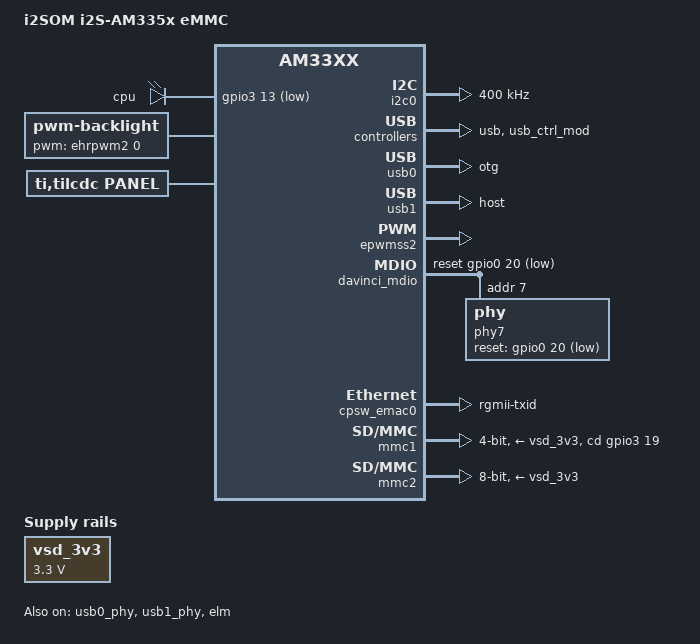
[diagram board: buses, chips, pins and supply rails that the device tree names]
/*
 * Copyright (C) 2012 Texas Instruments Incorporated - http://www.ti.com/
 *
 * This program is free software; you can redistribute it and/or modify
 * it under the terms of the GNU General Public License version 2 as
 * published by the Free Software Foundation.
 */
/ {
	model = "i2SOM i2S-AM335x eMMC";
	compatible = "ti,i2s_am335x", "ti,am33xx";

	vsd_3v3: fixedregulator@10{
		compatible = "regulator-fixed";
		regulator-name = "vsd_3v3";
		regulator-min-microvolt = <3300000>;
		regulator-max-microvolt = <3300000>;
		regulator-boot-on;
		regulator-always-on;
	};
	
	gpio-leds {
		compatible = "gpio-leds";
		pinctrl-names = "default";
		pinctrl-0 = <&leds_pins>;

		cpu {
			label = "cpu";
			gpios = <&gpio3 13 GPIO_ACTIVE_LOW>;
			linux,default-trigger = "heartbeat";
			default-state = "on";
		};
	};
	
	backlight {
		compatible = "pwm-backlight";
		pwms = <&ehrpwm2 0 2000 1>;
		brightness-levels = <10 120 140 160 180 200 220 255>;
		default-brightness-level = <7>;
	};

	panel {
		compatible = "ti,tilcdc,panel";
		status = "okay";
		panel-info {
			ac-bias           = <255>;
			ac-bias-intrpt    = <0>;
			dma-burst-sz      = <16>;
			bpp               = <16>;
			fdd               = <0x80>;
			sync-edge         = <0>;
			sync-ctrl         = <1>;
			raster-order      = <0>;
			fifo-th           = <0>;
		};

		display-timings {
			480x272 {
				clock-frequency = <9000000>;
				hactive = <480>;
				vactive = <272>;
				hfront-porch = <9>;
				hback-porch = <43>;
				hsync-len = <4>;
				vback-porch = <12>;
				vfront-porch = <4>;
				vsync-len = <10>;
				hsync-active = <0>;
				vsync-active = <0>;
			};
		};
	};
};

&am33xx_pinmux {
	pinctrl-names = "default";
	pinctrl-0 = <&leds_pins>;

	leds_pins: pinmux_leds_pins {
		pinctrl-single,pins = <
			0x234 (PIN_OUTPUT_PULLDOWN | MUX_MODE7)	/* usb1_drvvbus.gpio3_13 */
		>;
	};
	
	i2c0_pins: pinmux_i2c0_pins {
		pinctrl-single,pins = <
			0x188 (PIN_INPUT_PULLUP | MUX_MODE0)	/* i2c0_sda.i2c0_sda */
			0x18c (PIN_INPUT_PULLUP | MUX_MODE0)	/* i2c0_scl.i2c0_scl */
		>;
	};

	i2c1_pins_default: pinmux_i2c1_pins {
		pinctrl-single,pins = <
			0x158 (PIN_INPUT_PULLUP | MUX_MODE2)	/* spi0_d1.i2c1_sda */
			0x15c (PIN_INPUT_PULLUP | MUX_MODE2)	/* spi0_cs0.i2c1_scl */
		>;
	};

	i2c1_pins_sleep: i2c1_pins_sleep {
		pinctrl-single,pins = <
			0x158 (PIN_INPUT_PULLDOWN | MUX_MODE7)	/* spi0_d1.i2c1_sda */
			0x15c (PIN_INPUT_PULLDOWN | MUX_MODE7)	/* spi0_cs0.i2c1_scl */
		>;
	};

	uart0_pins: pinmux_uart0_pins {
		pinctrl-single,pins = <
			0x170 (PIN_INPUT_PULLUP | MUX_MODE0)	/* uart0_rxd.uart0_rxd */
			0x174 (PIN_OUTPUT_PULLDOWN | MUX_MODE0)	/* uart0_txd.uart0_txd */
		>;
	};

	uart1_pins_default: pinmux_uart1_pins_default {
        pinctrl-single,pins = <
			0x180 (PIN_INPUT_PULLUP | MUX_MODE0)    /* uart1_rxd.uart1_rxd */
			0x184 (PIN_OUTPUT_PULLDOWN | MUX_MODE0)         /* uart1_txd.uart1_txd */
                >;
        };

	uart1_pins_sleep: pinmux_uart1_pins_sleep {
		pinctrl-single,pins = <
			0x180 (PIN_INPUT_PULLDOWN | MUX_MODE7)
			0x184 (PIN_INPUT_PULLDOWN | MUX_MODE7)
                >;
        };

	uart2_pins_default: pinmux_uart2_pins_default {
		pinctrl-single,pins = <
			0x10c ( PIN_INPUT | MUX_MODE6 ) /* (H17) gmii1_crs.uart2_rxd */
			0x110 ( PIN_OUTPUT | MUX_MODE6 ) /* (J15) gmii1_rxer.uart2_txd */
		>;
	};

	uart2_pins_sleep: pinmux_uart2_pins_sleep {
		pinctrl-single,pins = <
			0x10C (PIN_INPUT_PULLDOWN | MUX_MODE7)
			0x110 (PIN_INPUT_PULLDOWN | MUX_MODE7)
		>;
	};

	nandflash_pins_default: nandflash_pins_default {
		pinctrl-single,pins = <
			0x0 (PIN_INPUT_PULLUP | MUX_MODE0)	/* gpmc_ad0.gpmc_ad0 */
			0x4 (PIN_INPUT_PULLUP | MUX_MODE0)	/* gpmc_ad1.gpmc_ad1 */
			0x8 (PIN_INPUT_PULLUP | MUX_MODE0)	/* gpmc_ad2.gpmc_ad2 */
			0xc (PIN_INPUT_PULLUP | MUX_MODE0)	/* gpmc_ad3.gpmc_ad3 */
			0x10 (PIN_INPUT_PULLUP | MUX_MODE0)	/* gpmc_ad4.gpmc_ad4 */
			0x14 (PIN_INPUT_PULLUP | MUX_MODE0)	/* gpmc_ad5.gpmc_ad5 */
			0x18 (PIN_INPUT_PULLUP | MUX_MODE0)	/* gpmc_ad6.gpmc_ad6 */
			0x1c (PIN_INPUT_PULLUP | MUX_MODE0)	/* gpmc_ad7.gpmc_ad7 */
			0x70 (PIN_INPUT_PULLUP | MUX_MODE0)	/* gpmc_wait0.gpmc_wait0 */
			0x74 (PIN_INPUT_PULLUP | MUX_MODE7)	/* gpmc_wpn.gpio0_30 */
			0x7c (PIN_OUTPUT | MUX_MODE0)		/* gpmc_csn0.gpmc_csn0  */
			0x90 (PIN_OUTPUT | MUX_MODE0)		/* gpmc_advn_ale.gpmc_advn_ale */
			0x94 (PIN_OUTPUT | MUX_MODE0)		/* gpmc_oen_ren.gpmc_oen_ren */
			0x98 (PIN_OUTPUT | MUX_MODE0)		/* gpmc_wen.gpmc_wen */
			0x9c (PIN_OUTPUT | MUX_MODE0)		/* gpmc_be0n_cle.gpmc_be0n_cle */
		>;
	};

	nandflash_pins_sleep: nandflash_pins_sleep {
		pinctrl-single,pins = <
			0x0 (PIN_INPUT_PULLDOWN | MUX_MODE7)
			0x4 (PIN_INPUT_PULLDOWN | MUX_MODE7)
			0x8 (PIN_INPUT_PULLDOWN | MUX_MODE7)
			0xc (PIN_INPUT_PULLDOWN | MUX_MODE7)
			0x10 (PIN_INPUT_PULLDOWN | MUX_MODE7)
			0x14 (PIN_INPUT_PULLDOWN | MUX_MODE7)
			0x18 (PIN_INPUT_PULLDOWN | MUX_MODE7)
			0x1c (PIN_INPUT_PULLDOWN | MUX_MODE7)
			0x70 (PIN_INPUT_PULLDOWN | MUX_MODE7)
			0x74 (PIN_INPUT_PULLDOWN | MUX_MODE7)
			0x7c (PIN_INPUT_PULLDOWN | MUX_MODE7)
			0x90 (PIN_INPUT_PULLDOWN | MUX_MODE7)
			0x94 (PIN_INPUT_PULLDOWN | MUX_MODE7)
			0x98 (PIN_INPUT_PULLDOWN | MUX_MODE7)
			0x9c (PIN_INPUT_PULLDOWN | MUX_MODE7)
		>;
	};

	ehrpwm2_pins_default: backlight_pins {
		pinctrl-single,pins = <
			0x20 (MUX_MODE4)	/* gpmc_ad8.ehrpwm2A */
		>;
	};

	ehrpwm2_pins_sleep: ehrpwm0_pins_sleep {
		pinctrl-single,pins = <
			0x20  (PIN_INPUT_PULLDOWN | MUX_MODE4)	/* gpmc_ad8.ehrpwm2A */
		>;
	};

	cpsw_default: cpsw_default {
		pinctrl-single,pins = <
			/* Slave 1 */
			0x114 (PIN_OUTPUT_PULLDOWN | MUX_MODE2)	/* mii1_txen.rgmii1_tctl */
			0x118 (PIN_INPUT_PULLDOWN | MUX_MODE2)	/* mii1_rxdv.rgmii1_rctl */
			0x11c (PIN_OUTPUT_PULLDOWN | MUX_MODE2)	/* mii1_txd3.rgmii1_td3 */
			0x120 (PIN_OUTPUT_PULLDOWN | MUX_MODE2)	/* mii1_txd2.rgmii1_td2 */
			0x124 (PIN_OUTPUT_PULLDOWN | MUX_MODE2)	/* mii1_txd1.rgmii1_td1 */
			0x128 (PIN_OUTPUT_PULLDOWN | MUX_MODE2)	/* mii1_txd0.rgmii1_td0 */
			0x12c (PIN_OUTPUT_PULLDOWN | MUX_MODE2)	/* mii1_txclk.rgmii1_tclk */
			0x130 (PIN_INPUT_PULLDOWN | MUX_MODE2)	/* mii1_rxclk.rgmii1_rclk */
			0x134 (PIN_INPUT_PULLDOWN | MUX_MODE2)	/* mii1_rxd3.rgmii1_rd3 */
			0x138 (PIN_INPUT_PULLDOWN | MUX_MODE2)	/* mii1_rxd2.rgmii1_rd2 */
			0x13c (PIN_INPUT_PULLDOWN | MUX_MODE2)	/* mii1_rxd1.rgmii1_rd1 */
			0x140 (PIN_INPUT_PULLDOWN | MUX_MODE2)	/* mii1_rxd0.rgmii1_rd0 */
			0x1b4 (PIN_OUTPUT_PULLUP | MUX_MODE7)	/* XDMA_EVENT_INTR1.gpio0_20 */

		>;
	};

	cpsw_sleep: cpsw_sleep {
		pinctrl-single,pins = <
			/* Slave 1 reset value */
			0x114 (PIN_INPUT_PULLDOWN | MUX_MODE7)
			0x118 (PIN_INPUT_PULLDOWN | MUX_MODE7)
			0x11c (PIN_INPUT_PULLDOWN | MUX_MODE7)
			0x120 (PIN_INPUT_PULLDOWN | MUX_MODE7)
			0x124 (PIN_INPUT_PULLDOWN | MUX_MODE7)
			0x128 (PIN_INPUT_PULLDOWN | MUX_MODE7)
			0x12c (PIN_INPUT_PULLDOWN | MUX_MODE7)
			0x130 (PIN_INPUT_PULLDOWN | MUX_MODE7)
			0x134 (PIN_INPUT_PULLDOWN | MUX_MODE7)
			0x138 (PIN_INPUT_PULLDOWN | MUX_MODE7)
			0x13c (PIN_INPUT_PULLDOWN | MUX_MODE7)
			0x140 (PIN_INPUT_PULLDOWN | MUX_MODE7)
			0x1b4 (PIN_OUTPUT_PULLUP | MUX_MODE7)	/* XDMA_EVENT_INTR1.gpio0_20 */
		>;
	};

	davinci_mdio_default: davinci_mdio_default {
		pinctrl-single,pins = <
			/* MDIO */
			0x148 (PIN_INPUT_PULLUP | SLEWCTRL_FAST | MUX_MODE0)	/* mdio_data.mdio_data */
			0x14c (PIN_OUTPUT_PULLUP | MUX_MODE0)			/* mdio_clk.mdio_clk */
		>;
	};

	davinci_mdio_sleep: davinci_mdio_sleep {
		pinctrl-single,pins = <
			/* MDIO reset value */
			0x148 (PIN_INPUT_PULLDOWN | MUX_MODE7)
			0x14c (PIN_INPUT_PULLDOWN | MUX_MODE7)
		>;
	};

	mmc1_pins_default: pinmux_mmc1_pins {
		pinctrl-single,pins = <
			0x0F0 (PIN_INPUT_PULLUP | MUX_MODE0)    /* mmc0_dat3.mmc0_dat3 */
			0x0F4 (PIN_INPUT_PULLUP | MUX_MODE0)    /* mmc0_dat2.mmc0_dat2 */
			0x0F8 (PIN_INPUT_PULLUP | MUX_MODE0)    /* mmc0_dat1.mmc0_dat1 */
			0x0FC (PIN_INPUT_PULLUP | MUX_MODE0)    /* mmc0_dat0.mmc0_dat0 */
			0x100 (PIN_INPUT_PULLUP | MUX_MODE0)    /* mmc0_clk.mmc0_clk */
			0x104 (PIN_INPUT_PULLUP | MUX_MODE0)    /* mmc0_cmd.mmc0_cmd */
			0x1A4 (PIN_INPUT_PULLUP | MUX_MODE7)    /* mcasp0_fsr.gpio3_19 */
			
		>;
	};

	mmc1_pins_sleep: pinmux_mmc1_pins_sleep {
		pinctrl-single,pins = <
			0x0F0 (PIN_INPUT_PULLDOWN | MUX_MODE7)
			0x0F4 (PIN_INPUT_PULLDOWN | MUX_MODE7)
			0x0F8 (PIN_INPUT_PULLDOWN | MUX_MODE7)
			0x0FC (PIN_INPUT_PULLDOWN | MUX_MODE7)
			0x100 (PIN_INPUT_PULLDOWN | MUX_MODE7)
			0x104 (PIN_INPUT_PULLDOWN | MUX_MODE7)
			0x1A4 (PIN_INPUT_PULLUP | MUX_MODE7)
		>;
	};
	
	emmc_pins: pinmux_emmc {
		pinctrl-single,pins = <
			0x80 (PIN_INPUT_PULLUP | MUX_MODE2)	/* gpmc_csn1.mmc1_clk */
			0x84 (PIN_INPUT_PULLUP | MUX_MODE2)	/* gpmc_csn2.mmc1_cmd */
			0x00 (PIN_INPUT_PULLUP | MUX_MODE1)	/* gpmc_ad0.mmc1_dat0 */
			0x04 (PIN_INPUT_PULLUP | MUX_MODE1)	/* gpmc_ad1.mmc1_dat1 */
			0x08 (PIN_INPUT_PULLUP | MUX_MODE1)	/* gpmc_ad2.mmc1_dat2 */
			0x0c (PIN_INPUT_PULLUP | MUX_MODE1)	/* gpmc_ad3.mmc1_dat3 */
			0x10 (PIN_INPUT_PULLUP | MUX_MODE1)	/* gpmc_ad4.mmc1_dat4 */
			0x14 (PIN_INPUT_PULLUP | MUX_MODE1)	/* gpmc_ad5.mmc1_dat5 */
			0x18 (PIN_INPUT_PULLUP | MUX_MODE1)	/* gpmc_ad6.mmc1_dat6 */
			0x1c (PIN_INPUT_PULLUP | MUX_MODE1)	/* gpmc_ad7.mmc1_dat7 */
			/* EMMC nReset */
			0x78 (PIN_OUTPUT_PULLUP | MUX_MODE7)	/* gpmc_wpn.gpio1_28 */
		>;
	};

	/* wl12xx/wl18xx card on mmc3 */
	mmc3_pins: pinmux_mmc3_pins {
		pinctrl-single,pins = <
			0x30 (PIN_INPUT_PULLUP | MUX_MODE3)	/* gpmc_a12.mmc2_dat0, INPUT_PULLUP | MODE3 */
			0x34 (PIN_INPUT_PULLUP | MUX_MODE3)	/* gpmc_a13.mmc2_dat1, INPUT_PULLUP | MODE3 */
			0x38 (PIN_INPUT_PULLUP | MUX_MODE3)	/* gpmc_a14.mmc2_dat2, INPUT_PULLUP | MODE3 */
			0x3c (PIN_INPUT_PULLUP | MUX_MODE3)	/* gpmc_a15.mmc2_dat3, INPUT_PULLUP | MODE3 */
			0x88 (PIN_INPUT_PULLUP | MUX_MODE3)	/* gpmc_csn3.mmc2_cmd, INPUT_PULLUP | MODE3 */
			0x8C (PIN_INPUT_PULLUP | MUX_MODE3)	/* gpmc_clk.mmc2_clk, INPUT_PULLUP | MODE3 */
		>;
	};

	/* wl12xx/wl18xx card enable/irq GPIOs. */
	wlan_pins: pinmux_wlan_pins {
		pinctrl-single,pins = <
			0x20 (PIN_OUTPUT_PULLDOWN | MUX_MODE7)	/* WLAN_EN gpmc_ad7.gpio0_22 */
			0x24 (PIN_INPUT | MUX_MODE7)		/* BT_EN gpmc_ad9.gpio0_23 */
		>;
	};

	lcd_pins_default: lcd_pins_default {
		pinctrl-single,pins = <
//			0x20 (PIN_OUTPUT | MUX_MODE1)		/* gpmc_ad8.lcd_data23 */
//			0x24 (PIN_OUTPUT | MUX_MODE1)		/* gpmc_ad9.lcd_data22 */
//			0x28 (PIN_OUTPUT | MUX_MODE1)		/* gpmc_ad10.lcd_data21 */
//			0x2c (PIN_OUTPUT | MUX_MODE1)		/* gpmc_ad11.lcd_data20 */
//			0x30 (PIN_OUTPUT | MUX_MODE1)		/* gpmc_ad12.lcd_data19 */
//			0x34 (PIN_OUTPUT | MUX_MODE1)		/* gpmc_ad13.lcd_data18 */
//			0x38 (PIN_OUTPUT | MUX_MODE1)		/* gpmc_ad14.lcd_data17 */
//			0x3c (PIN_OUTPUT | MUX_MODE1)		/* gpmc_ad15.lcd_data16 */
			0xa0 (PIN_OUTPUT | MUX_MODE0)		/* lcd_data0.lcd_data0 */
			0xa4 (PIN_OUTPUT | MUX_MODE0)		/* lcd_data1.lcd_data1 */
			0xa8 (PIN_OUTPUT | MUX_MODE0)		/* lcd_data2.lcd_data2 */
			0xac (PIN_OUTPUT | MUX_MODE0)		/* lcd_data3.lcd_data3 */
			0xb0 (PIN_OUTPUT | MUX_MODE0)		/* lcd_data4.lcd_data4 */
			0xb4 (PIN_OUTPUT | MUX_MODE0)		/* lcd_data5.lcd_data5 */
			0xb8 (PIN_OUTPUT | MUX_MODE0)		/* lcd_data6.lcd_data6 */
			0xbc (PIN_OUTPUT | MUX_MODE0)		/* lcd_data7.lcd_data7 */
			0xc0 (PIN_OUTPUT | MUX_MODE0)		/* lcd_data8.lcd_data8 */
			0xc4 (PIN_OUTPUT | MUX_MODE0)		/* lcd_data9.lcd_data9 */
			0xc8 (PIN_OUTPUT | MUX_MODE0)		/* lcd_data10.lcd_data10 */
			0xcc (PIN_OUTPUT | MUX_MODE0)		/* lcd_data11.lcd_data11 */
			0xd0 (PIN_OUTPUT | MUX_MODE0)		/* lcd_data12.lcd_data12 */
			0xd4 (PIN_OUTPUT | MUX_MODE0)		/* lcd_data13.lcd_data13 */
			0xd8 (PIN_OUTPUT | MUX_MODE0)		/* lcd_data14.lcd_data14 */
			0xdc (PIN_OUTPUT | MUX_MODE0)		/* lcd_data15.lcd_data15 */
			0xe0 (PIN_OUTPUT | MUX_MODE0)		/* lcd_vsync.lcd_vsync */
			0xe4 (PIN_OUTPUT | MUX_MODE0)		/* lcd_hsync.lcd_hsync */
			0xe8 (PIN_OUTPUT | MUX_MODE0)		/* lcd_pclk.lcd_pclk */
			0xec (PIN_OUTPUT | MUX_MODE0)		/* lcd_ac_bias_en.lcd_ac_bias_en */
		>;
	};

	lcd_pins_sleep: lcd_pins_sleep {
		pinctrl-single,pins = <
//			0x20 (PIN_INPUT_PULLDOWN | MUX_MODE7)	/* gpmc_ad8.lcd_data16 */
//			0x24 (PIN_INPUT_PULLDOWN | MUX_MODE7)	/* gpmc_ad9.lcd_data17 */
//			0x28 (PIN_INPUT_PULLDOWN | MUX_MODE7)	/* gpmc_ad10.lcd_data18 */
//			0x2c (PIN_INPUT_PULLDOWN | MUX_MODE7)	/* gpmc_ad11.lcd_data19 */
//			0x30 (PIN_INPUT_PULLDOWN | MUX_MODE7)	/* gpmc_ad12.lcd_data20 */
//			0x34 (PIN_INPUT_PULLDOWN | MUX_MODE7)	/* gpmc_ad13.lcd_data21 */
//			0x38 (PIN_INPUT_PULLDOWN | MUX_MODE7)	/* gpmc_ad14.lcd_data22 */
//			0x3c (PIN_INPUT_PULLDOWN | MUX_MODE7)	/* gpmc_ad15.lcd_data23 */
			0xa0 (PULL_DISABLE | MUX_MODE7)		/* lcd_data0.lcd_data0 */
			0xa4 (PULL_DISABLE | MUX_MODE7)		/* lcd_data1.lcd_data1 */
			0xa8 (PULL_DISABLE | MUX_MODE7)		/* lcd_data2.lcd_data2 */
			0xac (PULL_DISABLE | MUX_MODE7)		/* lcd_data3.lcd_data3 */
			0xb0 (PULL_DISABLE | MUX_MODE7)		/* lcd_data4.lcd_data4 */
			0xb4 (PULL_DISABLE | MUX_MODE7)		/* lcd_data5.lcd_data5 */
			0xb8 (PULL_DISABLE | MUX_MODE7)		/* lcd_data6.lcd_data6 */
			0xbc (PULL_DISABLE | MUX_MODE7)		/* lcd_data7.lcd_data7 */
			0xc0 (PULL_DISABLE | MUX_MODE7)		/* lcd_data8.lcd_data8 */
			0xc4 (PULL_DISABLE | MUX_MODE7)		/* lcd_data9.lcd_data9 */
			0xc8 (PULL_DISABLE | MUX_MODE7)		/* lcd_data10.lcd_data10 */
			0xcc (PULL_DISABLE | MUX_MODE7)		/* lcd_data11.lcd_data11 */
			0xd0 (PULL_DISABLE | MUX_MODE7)		/* lcd_data12.lcd_data12 */
			0xd4 (PULL_DISABLE | MUX_MODE7)		/* lcd_data13.lcd_data13 */
			0xd8 (PULL_DISABLE | MUX_MODE7)		/* lcd_data14.lcd_data14 */
			0xdc (PULL_DISABLE | MUX_MODE7)		/* lcd_data15.lcd_data15 */
			0xe0 (PIN_INPUT_PULLDOWN | MUX_MODE7)	/* lcd_vsync.lcd_vsync, OUTPUT | MODE0 */
			0xe4 (PIN_INPUT_PULLDOWN | MUX_MODE7)	/* lcd_hsync.lcd_hsync */
			0xe8 (PIN_INPUT_PULLDOWN | MUX_MODE7)	/* lcd_pclk.lcd_pclk */
			0xec (PIN_INPUT_PULLDOWN | MUX_MODE7)	/* lcd_ac_bias_en.lcd_ac_bias_en */
		>;
	};

	am335x_evm_audio_pins: am335x_evm_audio_pins {
		pinctrl-single,pins = <
			0x190 (PIN_INPUT_PULLDOWN | MUX_MODE0) /* A13 "mcasp0_aclkx.mcasp0_aclkx" */
			0x194 (PIN_INPUT_PULLDOWN | MUX_MODE0) /* B13 "mcasp0_fsx.mcasp0_fsx" */
			0x19c (PIN_INPUT_PULLDOWN | MUX_MODE2) /* C12  "mcasp0_ahclkr.mcasp0_axr2" */
			0x1a8 (PIN_INPUT_PULLDOWN | MUX_MODE0) /* D13 "mcasp0_axr1.mcasp0_axr1" */
		>;
	};

	am335x_evm_audio_pins_sleep: am335x_evm_audio_pins_sleep {
		pinctrl-single,pins = <
			0x190 (PIN_INPUT_PULLDOWN | MUX_MODE7) /* A13 "mcasp0_aclkx.mcasp0_aclkx" */
			0x194 (PIN_INPUT_PULLDOWN | MUX_MODE7) /* B13 "mcasp0_fsx.mcasp0_fsx" */
			0x19c (PIN_INPUT_PULLDOWN | MUX_MODE7) /* C12  "mcasp0_ahclkr.mcasp0_axr2" */
			0x1a8 (PIN_INPUT_PULLDOWN | MUX_MODE7) /* D13 "mcasp0_axr1.mcasp0_axr1" */
		>;
	};

	dcan0_pins_default: dcan0_pins_default {
		pinctrl-single,pins = <
			0x178 (PIN_OUTPUT_PULLUP | MUX_MODE2) /* uart1_ctsn.d_can0_tx */
			0x17c (PIN_INPUT_PULLUP | MUX_MODE2) /* uart1_rtsn.d_can0_rx */
		>;
	};

	dcan1_pins_default: dcan1_pins_default {
		pinctrl-single,pins = <
			0x168 (PIN_OUTPUT_PULLUP | MUX_MODE2) /* uart0_ctsn.d_can1_tx */
			0x16c (PIN_INPUT_PULLUP | MUX_MODE2) /* uart0_rtsn.d_can1_rx */
		>;
	};	
};

&uart0 {
	pinctrl-names = "default";
	pinctrl-0 = <&uart0_pins>;
};


&uart1 {
	pinctrl-names = "default", "sleep";
	pinctrl-0 = <&uart1_pins_default>;
	pinctrl-1 = <&uart1_pins_sleep>;
//	rts-gpio = <&gpio3 2 GPIO_ACTIVE_HIGH>;
//	rs485-rx-during-tx;
//	rs485-rts-delay = <1 1>;
	linux,rs485-enabled-at-boot-time;
};

&uart2 {
	pinctrl-names = "default", "sleep";
	pinctrl-0 = <&uart2_pins_default>;
	pinctrl-1 = <&uart2_pins_sleep>;
};

&i2c0 {
	pinctrl-names = "default";
	pinctrl-0 = <&i2c0_pins>;
	clock-frequency = <400000>;
};

&usb {
	status = "okay";
};

&usb_ctrl_mod {
	status = "okay";
};

&usb0_phy {
	status = "okay";
};

&usb1_phy {
	status = "okay";
};

&usb0 {
	dr_mode = "otg";
	status = "okay";
};

&usb1 {
	dr_mode = "host";
	status = "okay";
};

&cppi41dma  {
	status = "okay";
};

&i2c1 {
	pinctrl-names = "default", "sleep";
	pinctrl-0 = <&i2c1_pins_default>;
	pinctrl-1 = <&i2c1_pins_sleep>;
	clock-frequency = <100000>;
	status = "disabled";
};

&lcdc {
	pinctrl-names = "default", "sleep";
	pinctrl-0 = <&lcd_pins_default>;
	pinctrl-1 = <&lcd_pins_sleep>;
};

&elm {
	status = "okay";
};

&epwmss2 {
	status = "okay";

	ehrpwm2: ehrpwm@48304200 {
		pinctrl-names = "default", "sleep";
		pinctrl-0 = <&ehrpwm2_pins_default>;
		pinctrl-1 = <&ehrpwm2_pins_sleep>;
		status = "okay";
	};
};

&mcasp0 {
	pinctrl-names = "default", "sleep";
	pinctrl-0 = <&am335x_evm_audio_pins>;
	pinctrl-1 = <&am335x_evm_audio_pins_sleep>;

	status = "disabled";

	op-mode = <0>;          /* MCASP_IIS_MODE */
	tdm-slots = <2>;
	/* 4 serializers */
	serial-dir = <  /* 0: INACTIVE, 1: TX, 2: RX */
		0 1 2 0
		0 0 0 0
		0 0 0 0
		0 0 0 0
	>;
	tx-num-evt = <1>;
	rx-num-evt = <1>;
};

&mac {
	pinctrl-names = "default", "sleep";
	pinctrl-0 = <&cpsw_default>;
	pinctrl-1 = <&cpsw_sleep>;
	//dual_emac = <1>;
	slaves = <1>;
	//active_slave = <1>;
};

&davinci_mdio {
	pinctrl-names = "default", "sleep";
	pinctrl-0 = <&davinci_mdio_default>;
	pinctrl-1 = <&davinci_mdio_sleep>;
	reset-gpios = <&gpio0 20 GPIO_ACTIVE_LOW>;

	phy7: phy@7 {
		reg = <7>;
		reset = <&gpio0 20 GPIO_ACTIVE_LOW>;
	};
};

&cpsw_emac0 {
	phy_id = <&davinci_mdio>, <7>;
	phy-mode = "rgmii-txid";
	dual_emac_res_vlan=<0>;
};

&tscadc {
	tsc {
		ti,wires = <4>;
		ti,x-plate-resistance = <200>;
		ti,coordinate-readouts = <5>;
		ti,wire-config = <0x00 0x11 0x22 0x33>;
		ti,charge-delay = <0x400>;
	};

	adc {
		ti,adc-channels = <4 5 6 7>;
	};
};

&mmc1 {
	pinctrl-names = "default", "sleep";
	pinctrl-0 = <&mmc1_pins_default>;
	pinctrl-1 = <&mmc1_pins_sleep>;
	cd-gpios = <&gpio3 19 GPIO_ACTIVE_HIGH>;
	vmmc-supply = <&vsd_3v3>;
	bus-width = <4>;
	status = "okay";
};

&mmc2 {
	/* eMMC (not populated) on MMC #2 */
	pinctrl-names = "default";
	pinctrl-0 = <&emmc_pins>;
	vmmc-supply = <&vsd_3v3>;
	bus-width = <8>;
	ti,non-removable;
	status = "okay";
};

&mmc3 {
	status = "disabled";
};

&wkup_m3_ipc {
	ti,scale-data-fw = "am335x-evm-scale-data.bin";
};

&rtc {
	system-power-controller;
};
